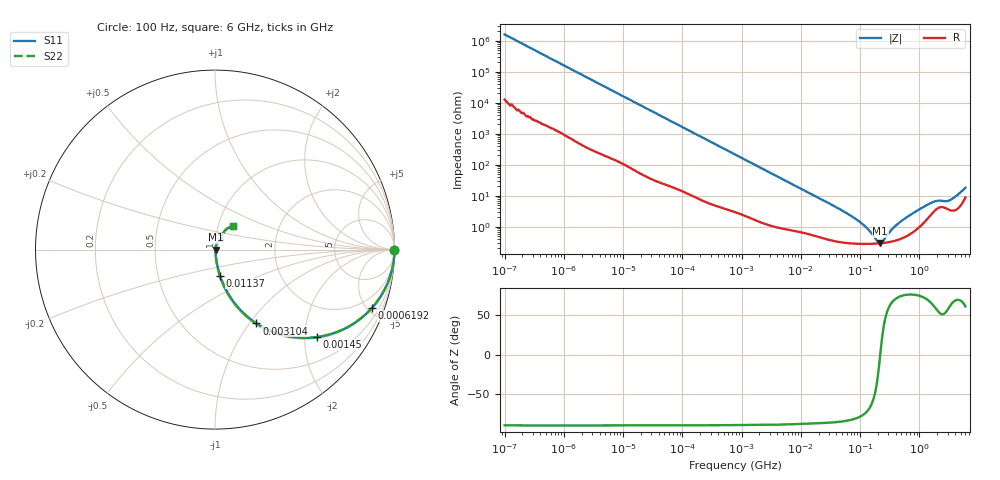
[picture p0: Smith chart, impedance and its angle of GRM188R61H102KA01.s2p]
!Murata Part Number: GRM188R61H102KA01
!These Parameters are Measured in Series Mode Connection
!Data Generated on Mar 30, 2021
!  o--ll--o
!Port1  Port2
!  o------o
!Operation Temp=25[degC], DC Bias Voltage=0[V]
!Freq. Start=100[Hz] Stop=6[GHz] 401[Steps]
# Hz S RI R 50
!Freq.(Hz) S11(Real) S11(Imag) S21(Real) S21(Imag) S12(Real) S12(Imag) S22(Real) S22(Imag)
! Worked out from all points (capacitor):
!   401 points, 100 Hz to 6 GHz, reference 50 ohm
!   read as one part in series: C = 994 pF near 109 Hz
!   lowest |Z| = 294 mohm at 218.4 MHz (marker M1)
!   series resonance near 219.1 MHz, so ESL is about 530 pH
!   S11 on the Smith chart (normalised r, x): 100 Hz: open; 619.2 kHz: 1.07, -5.35; 1.45 MHz: 1.04, -2.30; 3.104 MHz: 1.02, -1.08; 11.37 MHz: 1.01, -0.30; 6 GHz: 1.18, +0.32
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100  1 -6.26e-05  5e-07 6.26e-05  5e-07 6.26e-05  1 -6.26e-05
171  1 -0.000107  7e-07 0.000107  7e-07 0.000107  1 -0.000107
2008  1 -0.00124  8.3e-06 0.00124  8.3e-06 0.00124  1 -0.00124
40335  0.9992 -0.0247  0.000778 0.0247  0.000778 0.0247  0.9992 -0.0247
193316  0.9853 -0.1157  0.0147 0.1157  0.0147 0.1157  0.9853 -0.1157
619225  0.874 -0.3254  0.126 0.3254  0.126 0.3254  0.874 -0.3254
774597  0.8175 -0.3794  0.1825 0.3794  0.1825 0.3794  0.8175 -0.3794
1449809  0.5686 -0.4873  0.4314 0.4873  0.4314 0.4873  0.5686 -0.4873
3103719  0.2306 -0.4113  0.7694 0.4113  0.7694 0.4113  0.2306 -0.4113
5554849  0.0905 -0.2735  0.9095 0.2735  0.9095 0.2735  0.0905 -0.2735
1.137099e7  0.0277 -0.1445  0.9723 0.1445  0.9723 0.1445  0.0277 -0.1445
1.555665e7  0.0171 -0.1074  0.9829 0.1074  0.9829 0.1074  0.0171 -0.1074
8.918374e7  0.0031 -0.0163  0.9969 0.0163  0.9969 0.0163  0.0031 -0.0163
1.275994e8  0.00288 -0.00905  0.9971 0.00905  0.9971 0.00905  0.00288 -0.00905
1.909225e8  0.00288 -0.00221  0.9971 0.00221  0.9971 0.00221  0.00288 -0.00221
2.183701e8  0.00293 -5.54e-05  0.9971 5.54e-05  0.9971 5.54e-05  0.00293 -5.54e-05
3.124326e8  0.00325 0.00579  0.9968 -0.00579  0.9968 -0.00579  0.00325 0.00579
5.112761e8  0.00445 0.0152  0.9955 -0.0152  0.9955 -0.0152  0.00445 0.0152
1.144649e9  0.0139 0.0395  0.9861 -0.0395  0.9861 -0.0395  0.0139 0.0395
1.873145e9  0.0364 0.0535  0.9636 -0.0535  0.9636 -0.0535  0.0364 0.0535
3.205649e9  0.0374 0.057  0.9626 -0.057  0.9626 -0.057  0.0374 0.057
6e9  0.1 0.1311  0.9 -0.1311  0.9 -0.1311  0.1 0.1311
